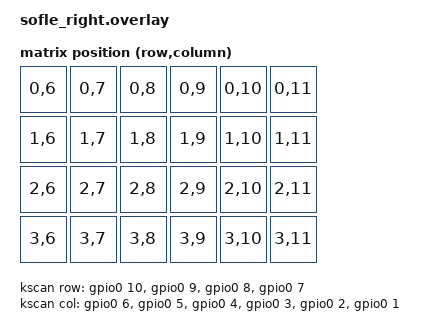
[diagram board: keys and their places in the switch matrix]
#include <dt-bindings/zmk/matrix_transform.h>

/ {
    chosen {
        zmk,kscan = &kscan;
        zmk,matrix-transform = &default_transform;
    };

    kscan: kscan {
        compatible = "zmk,kscan-gpio-matrix";

        row-gpios = <&gpio0 10 GPIO_ACTIVE_HIGH
                     &gpio0 9  GPIO_ACTIVE_HIGH
                     &gpio0 8  GPIO_ACTIVE_HIGH
                     &gpio0 7  GPIO_ACTIVE_HIGH>;

        col-gpios = <&gpio0 6  GPIO_ACTIVE_HIGH
                     &gpio0 5  GPIO_ACTIVE_HIGH
                     &gpio0 4  GPIO_ACTIVE_HIGH
                     &gpio0 3  GPIO_ACTIVE_HIGH
                     &gpio0 2  GPIO_ACTIVE_HIGH
                     &gpio0 1  GPIO_ACTIVE_HIGH>;

        debounce-period-ms = <5>;
    };

    default_transform: matrix_transform {
        compatible = "zmk,matrix-transform";
        columns = <12>;
        rows = <4>;

        map = <
            RC(0,6) RC(0,7) RC(0,8) RC(0,9) RC(0,10) RC(0,11)
            RC(1,6) RC(1,7) RC(1,8) RC(1,9) RC(1,10) RC(1,11)
            RC(2,6) RC(2,7) RC(2,8) RC(2,9) RC(2,10) RC(2,11)
            RC(3,6) RC(3,7) RC(3,8) RC(3,9) RC(3,10) RC(3,11)
        >;
    };
};
